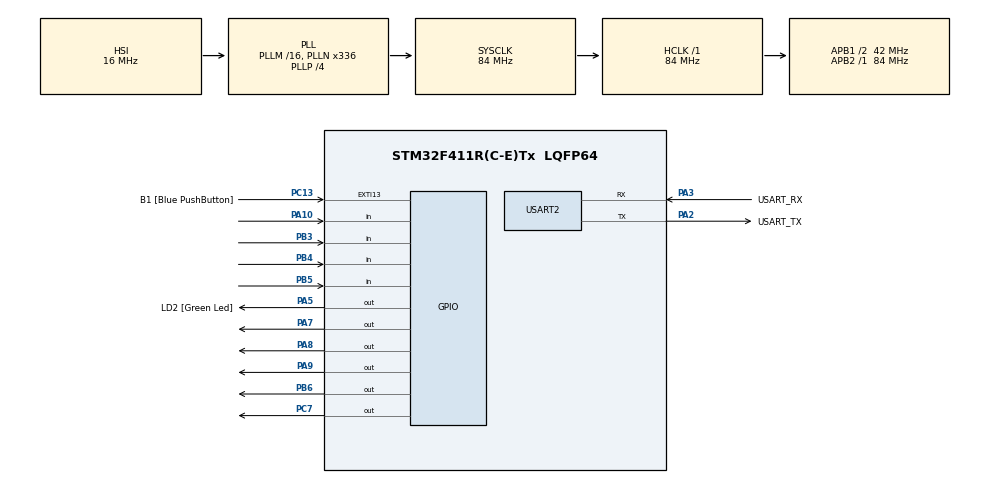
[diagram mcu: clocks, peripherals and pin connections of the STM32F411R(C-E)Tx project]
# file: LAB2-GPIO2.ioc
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Mcu.Family=STM32F4
Mcu.Name=STM32F411R(C-E)Tx
Mcu.Package=LQFP64
NVIC.PriorityGroup=NVIC_PRIORITYGROUP_0
PA10.GPIO_PuPd=GPIO_PULLUP
PA10.Signal=GPIO_Input
PA13.GPIO_Label=TMS
PA13.Mode=Serial_Wire
PA13.Signal=SYS_JTMS-SWDIO
PA14.GPIO_Label=TCK
PA14.Mode=Serial_Wire
PA14.Signal=SYS_JTCK-SWCLK
PA2.GPIO_Label=USART_TX
PA2.Mode=Asynchronous
PA2.Signal=USART2_TX
PA3.GPIO_Label=USART_RX
PA3.Mode=Asynchronous
PA3.Signal=USART2_RX
PA5.GPIO_Label=LD2 [Green Led]
PA5.Signal=GPIO_Output
PA7.GPIO_ModeDefaultOutputPP=GPIO_MODE_OUTPUT_OD
PA7.PinState=GPIO_PIN_SET
PA7.Signal=GPIO_Output
PA8.Signal=GPIO_Output
PA9.GPIO_ModeDefaultOutputPP=GPIO_MODE_OUTPUT_OD
PA9.PinState=GPIO_PIN_SET
PA9.Signal=GPIO_Output
PB3.GPIO_PuPd=GPIO_PULLUP
PB3.Signal=GPIO_Input
PB4.GPIO_PuPd=GPIO_PULLUP
PB4.Signal=GPIO_Input
PB5.GPIO_PuPd=GPIO_PULLUP
PB5.Signal=GPIO_Input
PB6.GPIO_ModeDefaultOutputPP=GPIO_MODE_OUTPUT_OD
PB6.PinState=GPIO_PIN_SET
PB6.Signal=GPIO_Output
PC13-ANTI_TAMP.GPIO_Label=B1 [Blue PushButton]
PC13-ANTI_TAMP.GPIO_ModeDefaultEXTI=GPIO_MODE_IT_FALLING
PC13-ANTI_TAMP.Signal=GPXTI13
PC14-OSC32_IN.Mode=LSE-External-Oscillator
PC14-OSC32_IN.Signal=RCC_OSC32_IN
PC15-OSC32_OUT.Mode=LSE-External-Oscillator
PC15-OSC32_OUT.Signal=RCC_OSC32_OUT
PC7.GPIO_ModeDefaultOutputPP=GPIO_MODE_OUTPUT_OD
PC7.PinState=GPIO_PIN_SET
PC7.Signal=GPIO_Output
PH0\ -\ OSC_IN.Mode=HSE-External-Clock-Source
PH0\ -\ OSC_IN.Signal=RCC_OSC_IN
PH1\ -\ OSC_OUT.Mode=HSE-External-Clock-Source
PH1\ -\ OSC_OUT.Signal=RCC_OSC_OUT
ProjectManager.HeapSize=0x200
ProjectManager.StackSize=0x400
ProjectManager.TargetToolchain=STM32CubeIDE
RCC.48MHZClocksFreq_Value=84000000
RCC.AHBFreq_Value=84000000
RCC.APB1CLKDivider=RCC_HCLK_DIV2
RCC.APB1Freq_Value=42000000
RCC.APB1TimFreq_Value=84000000
RCC.APB2Freq_Value=84000000
RCC.APB2TimFreq_Value=84000000
RCC.CortexFreq_Value=84000000
RCC.FLatency-AdvancedSettings=FLASH_LATENCY_2
RCC.HCLKFreq_Value=84000000
RCC.HSE_VALUE=8000000
RCC.HSI_VALUE=16000000
RCC.PLLN=336
RCC.PLLP=RCC_PLLP_DIV4
RCC.SYSCLKFreq_VALUE=84000000
RCC.SYSCLKSource=RCC_SYSCLKSOURCE_PLLCLK
RCC.VCOOutputFreq_Value=336000000
USART2.VirtualMode=VM_ASYNC
board=NUCLEO-F411RE

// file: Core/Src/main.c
/* USER CODE BEGIN Header */
/**
  ******************************************************************************
  * @file           : main.c
  * @brief          : Main program body
  ******************************************************************************
  * @attention
  *
  * <h2><center>&copy; Copyright (c) 2021 STMicroelectronics.
  * All rights reserved.</center></h2>
  *
  * This software component is licensed by ST under BSD 3-Clause license,
  * the "License"; You may not use this file except in compliance with the
  * License. You may obtain a copy of the License at:
  *                        opensource.org/licenses/BSD-3-Clause
  *
  ******************************************************************************
  */
/* USER CODE END Header */
#include "main.h"

UART_HandleTypeDef huart2;

/* USER CODE BEGIN PV */

//save status of Button Matrix
uint16_t ButtonMatrixState = 0;

//Button TimeStamp
uint32_t ButtonMatrixTimeStamp = 0;

int StudentID = 0;
uint16_t state = 0;
int CheckStudentID = 0;
/* USER CODE END PV */

void SystemClock_Config(void);
static void MX_GPIO_Init(void);
static void MX_USART2_UART_Init(void);
/* USER CODE BEGIN PFP */

//scan and update of Button Matrix
void ButtonMatrixUpdate();

/* USER CODE END PFP */

int main(void)
{

  /* MCU Configuration--------------------------------------------------------*/

  /* Reset of all peripherals, Initializes the Flash interface and the Systick. */
  HAL_Init();

  /* Configure the system clock */
  SystemClock_Config();

  /* Initialize all configured peripherals */
  MX_GPIO_Init();
  MX_USART2_UART_Init();

  /* Infinite loop */
  while (1)
  {

    /* USER CODE BEGIN 3 */
	ButtonMatrixUpdate();
  }
  /* USER CODE END 3 */
}

void SystemClock_Config(void)
{
  RCC_OscInitTypeDef RCC_OscInitStruct = {0};
  RCC_ClkInitTypeDef RCC_ClkInitStruct = {0};

  /** Configure the main internal regulator output voltage
  */
  __HAL_RCC_PWR_CLK_ENABLE();
  __HAL_PWR_VOLTAGESCALING_CONFIG(PWR_REGULATOR_VOLTAGE_SCALE1);
  /** Initializes the RCC Oscillators according to the specified parameters
  * in the RCC_OscInitTypeDef structure.
  */
  RCC_OscInitStruct.OscillatorType = RCC_OSCILLATORTYPE_HSI;
  RCC_OscInitStruct.HSIState = RCC_HSI_ON;
  RCC_OscInitStruct.HSICalibrationValue = RCC_HSICALIBRATION_DEFAULT;
  RCC_OscInitStruct.PLL.PLLState = RCC_PLL_ON;
  RCC_OscInitStruct.PLL.PLLSource = RCC_PLLSOURCE_HSI;
  RCC_OscInitStruct.PLL.PLLM = 16;
  RCC_OscInitStruct.PLL.PLLN = 336;
  RCC_OscInitStruct.PLL.PLLP = RCC_PLLP_DIV4;
  RCC_OscInitStruct.PLL.PLLQ = 4;
  if (HAL_RCC_OscConfig(&RCC_OscInitStruct) != HAL_OK)
  {
    Error_Handler();
  }
  /** Initializes the CPU, AHB and APB buses clocks
  */
  RCC_ClkInitStruct.ClockType = RCC_CLOCKTYPE_HCLK|RCC_CLOCKTYPE_SYSCLK
                              |RCC_CLOCKTYPE_PCLK1|RCC_CLOCKTYPE_PCLK2;
  RCC_ClkInitStruct.SYSCLKSource = RCC_SYSCLKSOURCE_PLLCLK;
  RCC_ClkInitStruct.AHBCLKDivider = RCC_SYSCLK_DIV1;
  RCC_ClkInitStruct.APB1CLKDivider = RCC_HCLK_DIV2;
  RCC_ClkInitStruct.APB2CLKDivider = RCC_HCLK_DIV1;

  if (HAL_RCC_ClockConfig(&RCC_ClkInitStruct, FLASH_LATENCY_2) != HAL_OK)
  {
    Error_Handler();
  }
}

static void MX_USART2_UART_Init(void)
{

  huart2.Instance = USART2;
  huart2.Init.BaudRate = 115200;
  huart2.Init.WordLength = UART_WORDLENGTH_8B;
  huart2.Init.StopBits = UART_STOPBITS_1;
  huart2.Init.Parity = UART_PARITY_NONE;
  huart2.Init.Mode = UART_MODE_TX_RX;
  huart2.Init.HwFlowCtl = UART_HWCONTROL_NONE;
  huart2.Init.OverSampling = UART_OVERSAMPLING_16;
  if (HAL_UART_Init(&huart2) != HAL_OK)
  {
    Error_Handler();
  }

}

static void MX_GPIO_Init(void)
{
  GPIO_InitTypeDef GPIO_InitStruct = {0};

  /* GPIO Ports Clock Enable */
  __HAL_RCC_GPIOC_CLK_ENABLE();
  __HAL_RCC_GPIOH_CLK_ENABLE();
  __HAL_RCC_GPIOA_CLK_ENABLE();
  __HAL_RCC_GPIOB_CLK_ENABLE();

  /*Configure GPIO pin Output Level */
  HAL_GPIO_WritePin(GPIOA, LD2_Pin|GPIO_PIN_8, GPIO_PIN_RESET);

  /*Configure GPIO pin Output Level */
  HAL_GPIO_WritePin(GPIOA, GPIO_PIN_7|GPIO_PIN_9, GPIO_PIN_SET);

  /*Configure GPIO pin Output Level */
  HAL_GPIO_WritePin(GPIOC, GPIO_PIN_7, GPIO_PIN_SET);

  /*Configure GPIO pin Output Level */
  HAL_GPIO_WritePin(GPIOB, GPIO_PIN_6, GPIO_PIN_SET);

  /*Configure GPIO pin : B1_Pin */
  GPIO_InitStruct.Pin = B1_Pin;
  GPIO_InitStruct.Mode = GPIO_MODE_IT_FALLING;
  GPIO_InitStruct.Pull = GPIO_NOPULL;
  HAL_GPIO_Init(B1_GPIO_Port, &GPIO_InitStruct);

  /*Configure GPIO pins : LD2_Pin PA8 */
  GPIO_InitStruct.Pin = LD2_Pin|GPIO_PIN_8;
  GPIO_InitStruct.Mode = GPIO_MODE_OUTPUT_PP;
  GPIO_InitStruct.Pull = GPIO_NOPULL;
  GPIO_InitStruct.Speed = GPIO_SPEED_FREQ_LOW;
  HAL_GPIO_Init(GPIOA, &GPIO_InitStruct);

  /*Configure GPIO pins : PA7 PA9 */
  GPIO_InitStruct.Pin = GPIO_PIN_7|GPIO_PIN_9;
  GPIO_InitStruct.Mode = GPIO_MODE_OUTPUT_OD;
  GPIO_InitStruct.Pull = GPIO_NOPULL;
  GPIO_InitStruct.Speed = GPIO_SPEED_FREQ_LOW;
  HAL_GPIO_Init(GPIOA, &GPIO_InitStruct);

  /*Configure GPIO pin : PC7 */
  GPIO_InitStruct.Pin = GPIO_PIN_7;
  GPIO_InitStruct.Mode = GPIO_MODE_OUTPUT_OD;
  GPIO_InitStruct.Pull = GPIO_NOPULL;
  GPIO_InitStruct.Speed = GPIO_SPEED_FREQ_LOW;
  HAL_GPIO_Init(GPIOC, &GPIO_InitStruct);

  /*Configure GPIO pin : PA10 */
  GPIO_InitStruct.Pin = GPIO_PIN_10;
  GPIO_InitStruct.Mode = GPIO_MODE_INPUT;
  GPIO_InitStruct.Pull = GPIO_PULLUP;
  HAL_GPIO_Init(GPIOA, &GPIO_InitStruct);

  /*Configure GPIO pins : PB3 PB4 PB5 */
  GPIO_InitStruct.Pin = GPIO_PIN_3|GPIO_PIN_4|GPIO_PIN_5;
  GPIO_InitStruct.Mode = GPIO_MODE_INPUT;
  GPIO_InitStruct.Pull = GPIO_PULLUP;
  HAL_GPIO_Init(GPIOB, &GPIO_InitStruct);

  /*Configure GPIO pin : PB6 */
  GPIO_InitStruct.Pin = GPIO_PIN_6;
  GPIO_InitStruct.Mode = GPIO_MODE_OUTPUT_OD;
  GPIO_InitStruct.Pull = GPIO_NOPULL;
  GPIO_InitStruct.Speed = GPIO_SPEED_FREQ_LOW;
  HAL_GPIO_Init(GPIOB, &GPIO_InitStruct);

}

/* USER CODE BEGIN 4 */

//port/pin array , 0-3 input , 4-7 output
GPIO_TypeDef* ButtonMatrixPort[8] = {GPIOA,GPIOB,GPIOB,GPIOB,GPIOA,GPIOC,GPIOB,GPIOA};

uint16_t ButtonMatrixPin[8] = {GPIO_PIN_10,GPIO_PIN_3,GPIO_PIN_5,GPIO_PIN_4,GPIO_PIN_9,GPIO_PIN_7,GPIO_PIN_6,GPIO_PIN_7};

uint8_t ButtonMatrixRow = 0; // Row
void ButtonMatrixUpdate()
{
	if(HAL_GetTick() - ButtonMatrixTimeStamp >= 100)
	{
		ButtonMatrixTimeStamp = HAL_GetTick();
		HAL_GPIO_WritePin(GPIOA, GPIO_PIN_8, GPIO_PIN_SET);
		int i;
		for(i = 0 ; i<4 ; ++i)
		{
			GPIO_PinState PinState = HAL_GPIO_ReadPin(ButtonMatrixPort[i] , ButtonMatrixPin[i]);
			if(PinState == GPIO_PIN_RESET) // Button Press
			{
				ButtonMatrixState |= (uint16_t)0x1 << (i + ButtonMatrixRow * 4);
				HAL_GPIO_WritePin(GPIOA, GPIO_PIN_8, GPIO_PIN_RESET);
				switch (state)
				{
					case 0: // check
						if(ButtonMatrixState == (0b1000000) && CheckStudentID == 0) // check & 6
						{
							StudentID += 1;
							state = 1;
						}
						else
						{
							state = 0;
							CheckStudentID = +1;
						}
						break;
					case 1: // 6
						if(ButtonMatrixState == (0b1000000000)) // 2
						{
							StudentID += 1;
							state = 2;
						}
						else
						{
							state = 0;
							CheckStudentID = +1;
						}
						break;
					case 2: // 62
						if(ButtonMatrixState == (0b10000000000)) // 3
						{
							StudentID += 1;
							state = 3;
						}
						else
						{
							state = 0;
							CheckStudentID = +1;
						}
						break;
					case 3: // 623
						if(ButtonMatrixState == (0b10000)) // 4
						{
							StudentID += 1;
							state = 4;
						}
						else
						{
							state = 0;
							CheckStudentID = +1;
						}
						break;
					case 4: // 6234
						if(ButtonMatrixState == (0b1000000000000)) // 0
						{
							StudentID += 1;
							state = 5;
						}
						else
						{
							state = 0;
							CheckStudentID = +1;
						}
						break;
					case 5: // 62340
						if(ButtonMatrixState == (0b100000)) // 5
						{
							StudentID += 1;
							state = 6;
						}
						else
						{
							state = 0;
							CheckStudentID = +1;
						}
						break;
					case 6: // 623405
						if(ButtonMatrixState == (0b1000000000000)) // 0
						{
							StudentID += 1;
							state = 7;
						}
						else
						{
							state = 0;
							CheckStudentID = +1;
						}
						break;
					case 7: // 6234050
						if(ButtonMatrixState == (0b1000000000000)) // 0
						{
							StudentID += 1;
							state = 8;
						}
						else
						{
							state = 0;
							CheckStudentID = +1;
						}
						break;
					case 8: // 62340500
						if(ButtonMatrixState == (0b1000000000000)) // 0
						{
							StudentID += 1;
							state = 9;
						}
						else
						{
							state = 0;
							CheckStudentID = +1;
						}
						break;
					case 9: // 623405000
						if(ButtonMatrixState == (0b1000000)) // 6
						{
							StudentID += 1;
							state = 10;
						}
						else
						{
							state = 0;
							CheckStudentID = +1;
						}
						break;
					case 10: // 6234050006
						if(ButtonMatrixState == (0b1000000000000)) // 0
						{
							StudentID += 1;
							state = 11;
						}
						else
						{
							state = 0;
							CheckStudentID = +1;
						}
						break;
					case 11: // 62340500060
						if(ButtonMatrixState == (0b1000000000000000) && StudentID == 11) // ok button
						{
							StudentID += 1;
							HAL_GPIO_WritePin(GPIOA, GPIO_PIN_5, GPIO_PIN_SET);
						}
						else
						{
							state = 0;
							CheckStudentID = +1;
						}
						break;
					default:
						break;
				}
				if(ButtonMatrixState == 0b1000)
				{
					CheckStudentID = 0;
					StudentID = 0;
					state = 0;
					HAL_GPIO_WritePin(GPIOA, GPIO_PIN_5, GPIO_PIN_RESET);
				}
			}
			else
			{
				ButtonMatrixState &= ~((uint16_t)0x1 << (i + ButtonMatrixRow * 4));
			}
		}
		uint8_t NowOutputPin = ButtonMatrixRow + 4;
		// Set Rn
		HAL_GPIO_WritePin(ButtonMatrixPort[NowOutputPin], ButtonMatrixPin[NowOutputPin], GPIO_PIN_SET);
		// update new row
		ButtonMatrixRow = (ButtonMatrixRow + 1) % 4;

		uint8_t NextOutputPin = ButtonMatrixRow + 4;
		// Reset Rn+1
		HAL_GPIO_WritePin(ButtonMatrixPort[NextOutputPin], ButtonMatrixPin[NextOutputPin], GPIO_PIN_RESET);
	}
}
/* USER CODE END 4 */

void Error_Handler(void)
{
  __disable_irq();
  while (1)
  {
  }
}

/************************ (C) COPYRIGHT STMicroelectronics *****END OF FILE****/
